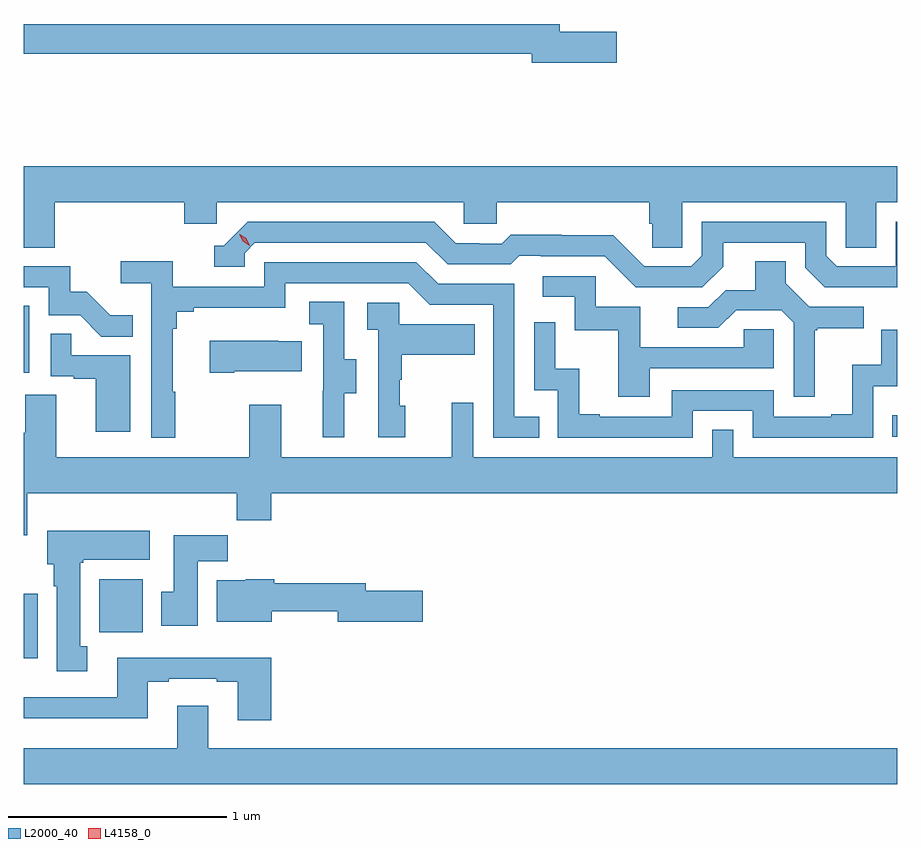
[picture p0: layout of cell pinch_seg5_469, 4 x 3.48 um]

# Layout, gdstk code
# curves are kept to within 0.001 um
import gdstk
lib = gdstk.Library(unit=1e-6, precision=1e-09)
def R(c, l, rs):  # rectangles x0, y0, x1, y1
    for r in rs: c.add(gdstk.rectangle(r[:2], r[2:], *l))
def P(c, l, *ps):  # polygons
    for p in ps: c.add(gdstk.Polygon(p, *l))
L2000_40 = (2000, 40)
L4158_0 = (4158, 0)

pinch_seg5_469 = lib.new_cell('pinch_seg5_469')
R(pinch_seg5_469, L2000_40, [(885.627,856.004,885.691,856.3), (885.974,856.124,886.171,856.366), (889.603,857.019,889.627,857.116), (885.627,857.31,885.652,857.617)])
P(pinch_seg5_469, L2000_40, [(888.343,858.872),(888.082,858.872),(888.082,858.908),(885.627,858.908),(885.627,858.772),(887.954,858.772),(887.954,858.73),(888.343,858.73)],
  [(885.77,858.092),(886.361,858.092),(886.361,857.994),(886.512,857.994),(886.512,858.092),(887.643,858.092),(887.643,857.994),(887.793,857.994),(887.793,858.092),(888.491,858.092),(888.491,857.994),(888.505,857.994),(888.505,857.884),(888.642,857.884),(888.642,858.092),(889.392,858.092),(889.392,857.884),(889.531,857.884),(889.531,858.092),(889.627,858.092),(889.627,858.256),(885.627,858.256),(885.627,857.884),(885.77,857.884)],
  [(889.627,858.003),(889.62,858.003),(889.62,857.799),(889.35,857.799),(889.302,857.847),(889.302,858.003),(888.732,858.003),(888.732,857.847),(888.684,857.799),(888.468,857.799),(888.326,857.941),(888.09,857.941),(888.09,857.944),(887.857,857.944),(887.815,857.901),(887.712,857.901),(887.712,857.904),(887.605,857.904),(887.506,858.003),(886.653,858.003),(886.542,857.892),(886.499,857.892),(886.499,857.796),(886.638,857.796),(886.638,857.859),(886.686,857.907),(887.469,857.907),(887.568,857.808),(887.857,857.808),(887.896,857.847),(887.995,857.847),(887.995,857.844),(888.288,857.844),(888.429,857.703),(888.735,857.703),(888.829,857.797),(888.829,857.907),(889.206,857.907),(889.206,857.793),(889.296,857.703),(889.627,857.702)],
  [(886.321,857.225),(886.309,857.225),(886.309,857.513),(886.328,857.513),(886.328,857.59),(886.405,857.59),(886.405,857.609),(886.824,857.609),(886.824,857.721),(887.388,857.721),(887.487,857.622),(887.778,857.622),(887.778,857.013),(887.987,857.013),(887.987,857.109),(887.874,857.109),(887.874,857.718),(887.524,857.718),(887.425,857.817),(886.728,857.817),(886.728,857.706),(886.31,857.706),(886.31,857.822),(886.071,857.822),(886.071,857.72),(886.212,857.72),(886.212,857.013),(886.321,857.013)],
  [(889.249,857.505),(889.261,857.505),(889.261,857.516),(889.474,857.516),(889.474,857.613),(889.224,857.613),(889.117,857.72),(889.117,857.822),(888.977,857.822),(888.977,857.69),(888.842,857.69),(888.762,857.61),(888.621,857.61),(888.621,857.517),(888.808,857.517),(888.889,857.598),(889.095,857.598),(889.152,857.541),(889.152,857.202),(889.249,857.202)],
  [(886.127,857.575),(886.023,857.575),(885.916,857.682),(885.84,857.682),(885.84,857.799),(885.627,857.799),(885.627,857.703),(885.741,857.703),(885.741,857.574),(885.885,857.574),(885.983,857.476),(886.127,857.476)],
  [(888.493,857.331),(889.062,857.331),(889.062,857.511),(888.925,857.511),(888.925,857.427),(888.451,857.427),(888.451,857.613),(888.246,857.613),(888.246,857.754),(888.003,857.754),(888.003,857.658),(888.15,857.658),(888.15,857.505),(888.349,857.505),(888.349,857.202),(888.493,857.202)],
  [(887.095,857.218),(887.149,857.218),(887.149,857.373),(887.094,857.373),(887.094,857.636),(886.935,857.636),(886.935,857.533),(886.998,857.533),(886.998,857.229),(886.997,857.229),(886.997,857.016),(887.095,857.016)],
  [(887.374,857.16),(887.349,857.16),(887.349,857.279),(887.359,857.279),(887.359,857.393),(887.693,857.393),(887.693,857.533),(887.346,857.533),(887.346,857.631),(887.199,857.631),(887.199,857.507),(887.25,857.507),(887.25,857.016),(887.374,857.016)],
  [(888.69,857.136),(888.966,857.136),(888.966,857.013),(889.518,857.013),(889.518,857.249),(889.627,857.249),(889.627,857.508),(889.554,857.508),(889.554,857.347),(889.421,857.347),(889.421,857.122),(889.325,857.122),(889.325,857.109),(889.062,857.109),(889.062,857.232),(888.594,857.232),(888.594,857.109),(888.265,857.109),(888.265,857.122),(888.17,857.122),(888.17,857.33),(888.06,857.33),(888.06,857.542),(887.964,857.542),(887.964,857.232),(888.072,857.232),(888.072,857.013),(888.69,857.013)],
  [(886.114,857.391),(885.845,857.391),(885.845,857.489),(885.75,857.489),(885.75,857.295),(885.857,857.295),(885.857,857.283),(885.956,857.283),(885.956,857.04),(886.114,857.04)],
  [(886.591,857.318),(886.901,857.318),(886.901,857.455),(886.793,857.455),(886.793,857.458),(886.479,857.458),(886.479,857.311),(886.591,857.311)],
  [(885.643,856.76),(886.603,856.76),(886.603,856.636),(886.76,856.636),(886.76,856.76),(889.627,856.76),(889.627,856.924),(888.876,856.924),(888.876,857.051),(888.78,857.051),(888.78,856.924),(887.685,856.924),(887.685,857.173),(887.588,857.173),(887.588,856.924),(886.807,856.924),(886.807,857.164),(886.66,857.164),(886.66,856.924),(885.775,856.924),(885.775,857.21),(885.635,857.21),(885.635,857.036),(885.627,857.036),(885.627,856.566),(885.643,856.566)],
  [(885.919,856.058),(885.886,856.058),(885.886,856.441),(885.9,856.441),(885.9,856.454),(886.204,856.454),(886.204,856.588),(885.734,856.588),(885.734,856.434),(885.764,856.434),(885.764,856.334),(885.779,856.334),(885.779,855.945),(885.919,855.945)],
  [(886.423,856.448),(886.562,856.448),(886.562,856.567),(886.313,856.567),(886.313,856.308),(886.256,856.308),(886.256,856.152),(886.423,856.152)],
  [(886.762,856.219),(887.066,856.219),(887.066,856.172),(887.455,856.172),(887.455,856.314),(887.194,856.314),(887.194,856.348),(886.775,856.348),(886.775,856.366),(886.644,856.366),(886.644,856.36),(886.511,856.36),(886.511,856.172),(886.762,856.172)],
  [(886.76,856.006),(886.055,856.006),(886.055,855.825),(885.627,855.825),(885.627,855.728),(886.195,855.728),(886.195,855.897),(886.291,855.897),(886.291,855.909),(886.511,855.909),(886.511,855.897),(886.607,855.897),(886.607,855.72),(886.76,855.72)],
  [(889.627,855.592),(886.471,855.592),(886.471,855.787),(886.331,855.787),(886.331,855.592),(885.627,855.592),(885.627,855.428),(889.627,855.428)])
P(pinch_seg5_469, L4158_0, [(886.662,857.893),(886.631,857.913),(886.615,857.945),(886.615,857.946),(886.616,857.946),(886.646,857.926),(886.662,857.893),(886.662,857.893)])

lib.write_gds('pinch_seg5_469.gds')
